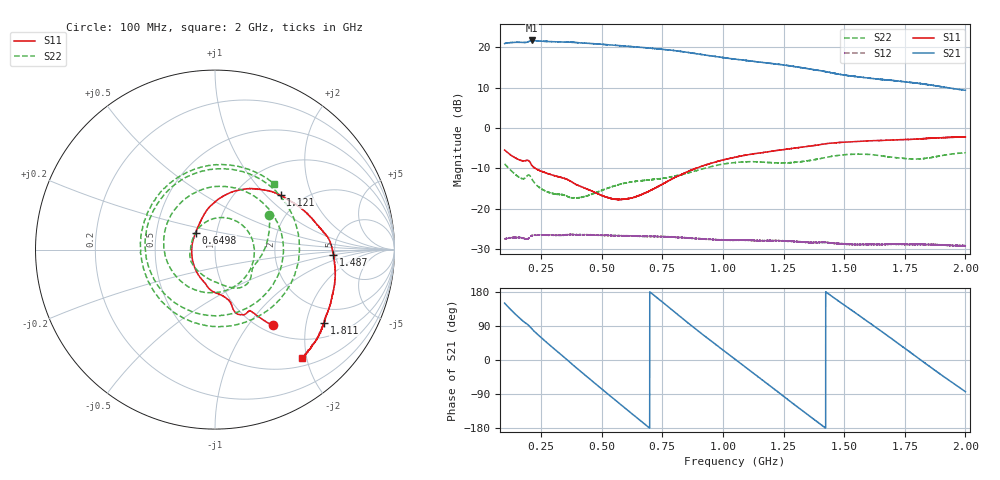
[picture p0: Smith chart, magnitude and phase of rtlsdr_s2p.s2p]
!Agilent Technologies,E8358A,US40260201,A.04.06
!Agilent E8358A: A.04.06
!Date: Thursday, April 26, 2012 11:17:17
!Correction: S11(Full 2 Port SOLT,1,2) S21(Full 2 Port SOLT,1,2) S12(Full 2 Port SOLT,1,2) S22(Full 2 Port SOLT,1,2)
!S2P File: Measurements: S11, S21, S12, S22:
# Hz S  MA  R 50
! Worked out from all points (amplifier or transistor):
!   6401 points, 100 MHz to 2 GHz, reference 50 ohm
!   highest |S21| = 21.7 dB at 211.9 MHz (marker M1)
!   |S21| within 3 dB of that: start of sweep to 857.2 MHz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
!   unconditionally stable (mu >= 1): start of sweep to end of sweep
!   at 416.5 MHz: K = 1.16, MAG = 21.3 dB, |S12| = -26.5 dB
!   at 1.05 GHz: K = 1.51, MAG = 18.2 dB, |S12| = -27.8 dB
!   at 2 GHz: K = 1.88, MAG = 13.9 dB, |S12| = -29.2 dB
!   S11 on the Smith chart (normalised r, x): 100 MHz: 1.12, -1.32; 649.8 MHz: 0.79, +0.15; 1.121 GHz: 1.57, +1.22; 1.487 GHz: 4.83, -0.52; 1.811 GHz: 1.44, -2.55; 2 GHz: 0.64, -1.91
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1e8  0.5315 -52.7  11.15 150.1  0.04172 -11.0  0.3586 33.0
1.519531e8  0.4124 -58.7  11.55 116.5  0.04352 -45.2  0.2534 -10.6
2.119219e8  0.344 -73.2  12.17 82.6  0.04636 -72.0  0.2339 -65.2
2.626875e8  0.2826 -76.3  11.88 52.3  0.04658 -100.0  0.1681 -100.5
3.167188e8  0.2508 -84.3  11.68 22.8  0.04654 -126.3  0.1498 -137.7
3.657031e8  0.2235 -97.3  11.59 -4.0  0.04715 -148.5  0.1388 -175.1
4.167656e8  0.1866 -111.0  11.34 -31.9  0.04719 -172.6  0.1379 153.7
4.734688e8  0.1576 -132.2  11.02 -62.2  0.0467 161.5  0.1567 117.2
5.275e8  0.1366 -158.0  10.75 -90.7  0.04651 137.0  0.1804 81.3
6.498125e8  0.1428 138.7  10.03 -154.7  0.04544 82.9  0.2192 -1.8
7.335313e8  0.1876 112.4  9.518 161.8  0.04503 46.1  0.2331 -66.6
8.041875e8  0.2445 95.8  9.078 124.9  0.04429 14.5  0.2544 -124.7
8.709844e8  0.3017 81.4  8.513 90.6  0.0427 -14.6  0.2839 179.4
9.647969e8  0.3745 64.0  7.737 43.9  0.04118 -55.0  0.3383 106.9
1.05e9  0.433 49.9  7.147 2.3  0.04064 -90.3  0.3713 47.2
1.12125e9  0.4745 39.6  6.752 -32.7  0.04009 -120.5  0.3816 -2.9
1.238219e9  0.5331 25.6  6.114 -89.8  0.0397 -171.1  0.3674 -93.8
1.366766e9  0.5991 11.3  5.333 -152.4  0.03752 135.0  0.3988 160.1
1.486703e9  0.6603 -2.6  4.596 151.1  0.03644 84.1  0.4597 71.0
1.683531e9  0.7069 -22.9  3.945 62.0  0.03567 3.9  0.4391 -67.1
1.811188e9  0.733 -33.9  3.569 2.2  0.03609 -49.8  0.4129 -172.1
2e9  0.7736 -51.3  2.932 -83.5  0.03479 -129.0  0.4914 48.0
